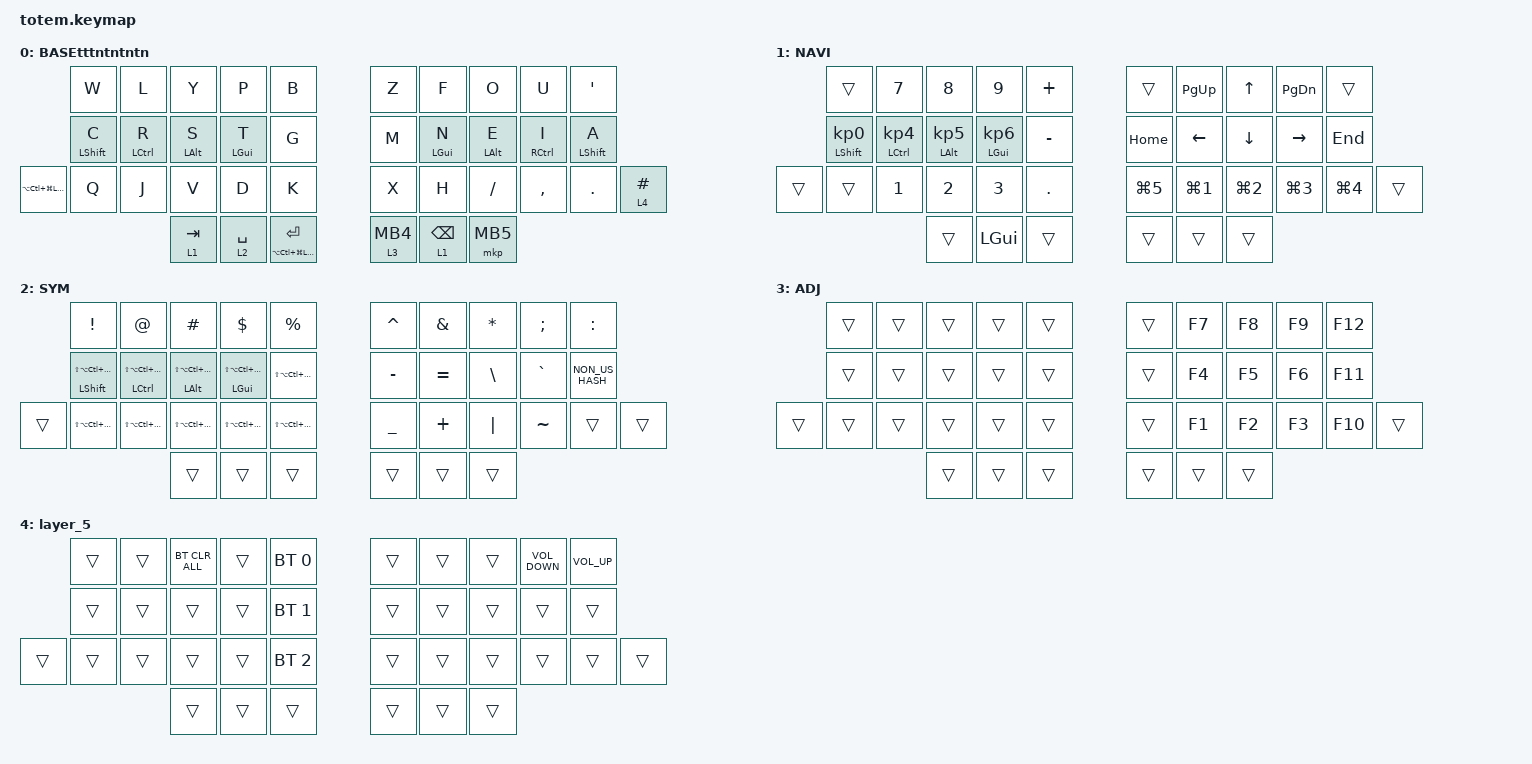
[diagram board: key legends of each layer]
//
//                                                        ▀▀▀▀▀     ▀▀▀▀▀          ▀▀█▀▀
//                                                        ▄▀▀▀▄  ▄  ▄▀▀▀▄  ▄  ▄▀▀▀▄  █  ▄▀▀▀▄
//                                                        █   █  █  █   █  █  █   █  █  █   █
//                                                         ▀▀▀   █   ▀▀▀   █   ▀▀▀   ▀   ▀▀▀
//                                                               █      ▄▄▄█▄▄▄    █   █  
//                                                               ▀      █  █  █     █▄█
//                                                             ▀▀▀▀▀    █  █  █      ▀
//                                                                      ▀  ▀  ▀
//
// ▄▄▄▄▄▄▄▄▄▄▄▄▄▄▄▄▄▄▄▄▄▄▄▄▄▄▄▄▄▄▄▄▄▄▄▄▄▄▄▄▄▄▄▄▄▄▄▄▄▄▄▄▄▄▄▄▄▄▄▄▄▄▄▄▄▄▄▄▄▄▄▄▄▄▄▄▄▄▄▄▄▄▄▄▄▄▄▄▄▄▄▄▄▄▄▄▄▄▄▄▄▄▄▄▄▄▄▄▄▄▄▄▄▄▄▄▄▄▄▄▄▄▄▄▄▄▄▄▄▄▄▄▄▄▄▄▄▄▄▄▄▄▄▄▄▄▄▄▄

#include <behaviors.dtsi>
#include <dt-bindings/zmk/bt.h>
#include <dt-bindings/zmk/keys.h>
#include <dt-bindings/zmk/pointing.h>

#define BASE 0
#define NAV  1
#define SYM  2
#define ADJ  3
#define TVP1 4
#define TVP2 5

&mt {
    quick-tap-ms = <100>;
    global-quick-tap;
    flavor = "tap-preferred";
    tapping-term-ms = <170>;
};

&lt { quick-tap-ms = <400>; };

/ {
    behaviors {
        td_copy_cut: td_copy_cut {
            compatible = "zmk,behavior-tap-dance";
            label = "TD_COPY_CUT";
            #binding-cells = <0>;
            bindings = <&copy_macro>, <&cut_macro>;

            tapping-term-ms = <300>;
        };

        hrm: hrm {
            compatible = "zmk,behavior-hold-tap";
            label = "HRM";
            #binding-cells = <2>;
            flavor = "balanced";
            tapping-term-ms = <400>;
            quick-tap-ms = <0>;
            global-quick-tap;
            bindings = <&kp>, <&kp>;
        };

        ht: ht {
            compatible = "zmk,behavior-hold-tap";
            label = "HT_LAYER_MOUSE";
            #binding-cells = <2>;
            flavor = "balanced";         // or "tap-preferred" / "hold-preferred"
            tapping-term-ms = <200>;     // tweak to your liking
            bindings = <&mo>, <&mkp>;

            // 1st: hold behavior, 2nd: tap behavior
        };
    };

    combos {
        compatible = "zmk,combos";

        Arrow {
            bindings = <&Arrow>;
            key-positions = <8 9>;
        };

        Paste {
            bindings = <&paste_macro>;
            key-positions = <24 23>;
        };

        CurlyL {
            bindings = <&kp LEFT_BRACE>;
            key-positions = <16 17>;
        };

        Enter {
            bindings = <&kp ENTER>;
            key-positions = <16 17 18>;
        };

        ParaL {
            bindings = <&kp LEFT_PARENTHESIS>;
            key-positions = <6 7>;
        };

        SquareL {
            bindings = <&kp LEFT_BRACKET>;
            key-positions = <27 28>;
        };

        SquareR {
            bindings = <&kp RIGHT_BRACKET>;
            key-positions = <29 28>;
        };

        ParaR {
            bindings = <&kp RIGHT_PARENTHESIS>;
            key-positions = <8 7>;
        };

        CurlyR {
            bindings = <&kp RIGHT_BRACE>;
            key-positions = <18 17>;
        };

        Tab {
            bindings = <&kp TAB>;
            key-positions = <11 12 13>;
        };

        Undo {
            timeout-ms = <50>;
            bindings = <&undo_macro>;
            key-positions = <2 3>;
        };

        Copy {
            bindings = <&td_copy_cut>;
            key-positions = <12 13>;
        };

        switch {
            bindings = <&kp LS(LA(LC(LG(F12))))>;
            key-positions = <4 5>;
        };

        switch2 {
            bindings = <&kp LS(LA(LC(LG(F11))))>;
            key-positions = <14 15>;
        };

        switch3 {
            bindings = <&kp LS(LC(LA(LG(F16))))>;
            key-positions = <25 26>;
        };

        Switch4 {
            bindings = <&kp LS(LA(LC(LG(F13))))>;
            key-positions = <3 6>;
        };

        Switch5 {
            bindings = <&kp LS(LA(LC(LG(F14))))>;
            key-positions = <16 13>;
        };

        Switch6 {
            bindings = <&kp LS(LA(LC(LG(F15))))>;
            key-positions = <24 27>;
        };

        Esc {
            bindings = <&kp ESC>;
            key-positions = <0 9>;
        };
    };

    macros {
        Arrow: Arrow {
            compatible = "zmk,behavior-macro";
            #binding-cells = <0>;
            bindings = <&kp EQUAL &kp GT>;
            label = "ARROW";
        };

        copy_macro: copy_macro {
            compatible = "zmk,behavior-macro";
            label = "COPY_MACRO";
            #binding-cells = <0>;
            bindings = <&kp LG(C)>;
        };

        cut_macro: cut_macro {
            compatible = "zmk,behavior-macro";
            label = "CUT_MACRO";
            #binding-cells = <0>;
            bindings = <&kp LG(X)>;
        };

        paste_macro: paste_macro {
            compatible = "zmk,behavior-macro";
            label = "PASTE_MACRO";
            #binding-cells = <0>;
            bindings = <&kp LG(V)>;
        };

        undo_macro: undo_macro {
            compatible = "zmk,behavior-macro";
            label = "UNDO_MACRO";
            #binding-cells = <0>;
            bindings = <&kp LG(Z)>;
        };
    };

    keymap {
        compatible = "zmk,keymap";

        // ▄▄▄▄▄▄▄▄▄▄▄▄▄▄▄▄▄▄▄▄▄▄▄▄▄▄▄▄▄▄▄▄▄▄▄▄▄▄▄▄▄▄▄▄▄▄▄▄▄▄▄▄▄▄▄▄▄▄▄▄▄▄▄▄▄▄▄▄▄▄▄▄▄▄▄▄▄▄▄▄▄▄▄▄▄▄▄▄▄▄▄▄▄▄▄▄▄▄▄▄▄▄▄▄▄▄▄▄▄▄▄▄▄▄▄▄▄▄▄▄▄▄▄▄▄▄▄▄▄▄▄▄▄▄▄▄▄▄▄▄▄▄▄▄▄▄▄▄▄

        layer_4 {
            label = "BASEtttntntntn";
            bindings = <
                            &kp W              &kp L         &kp Y            &kp P            &kp B                               &kp Z      &kp F            &kp O            &kp U                 &kp SQT
                            &hrm LEFT_SHIFT C  &hrm LCTRL R  &hrm LEFT_ALT S  &hrm LEFT_GUI T  &kp G                               &kp M      &hrm LEFT_GUI N  &hrm LEFT_ALT E  &hrm RIGHT_CONTROL I  &hrm LEFT_SHIFT A
&kp LA(LC(LG(LEFT_SHIFT)))  &kp Q              &kp J         &kp V            &kp D            &kp K                               &kp X      &kp H            &kp FSLH         &kp COMMA             &kp DOT            &lt 4 POUND
                                                             &lt 1 TAB        &lt 2 SPACE      &mt LA(LC(LG(LEFT_SHIFT))) ENTER    &ht 3 MB4  &lt 1 BACKSPACE  &mkp MB5
            >;
        };

        nav_layer {
            // ┏━━━━━━━━━━━━━━━━━━━━━━━━━━━━━━━━━━━━━━━┓

            label = "NAVI";

            // ┗━━━━━━━━━━━━━━━━━━━━━━━━━━━━━━━━━━━━━━━┛
            //             ┏━━━━━━━━━━━┳━━━━━━━━━━━┳━━━━━━━━━━━┳━━━━━━━━━━━┳━━━━━━━━━━━┓   ┏━━━━━━━━━━━┳━━━━━━━━━━━┳━━━━━━━━━━━┳━━━━━━━━━━━┳━━━━━━━━━━━┓
            //             ┃           ┃           ┃     UP    ┃           ┃     {     ┃   ┃     }     ┃     7     ┃     8     ┃     9     ┃     +     ┃
            //             ┣━━━━━━━━━━━╋━━━━━━━━━━━╋━━━━━━━━━━━╋━━━━━━━━━━━╋━━━━━━━━━━━┫   ┣━━━━━━━━━━━╋━━━━━━━━━━━╋━━━━━━━━━━━╋━━━━━━━━━━━╋━━━━━━━━━━━┫
            //             ┃   SHIFT   ┃   LEFT    ┃    DOWN   ┃   RIGHT   ┃     [     ┃   ┃     ]     ┃     4     ┃     5     ┃     6     ┃     -     ┃
            // ┏━━━━━━━━━━━╋━━━━━━━━━━━╋━━━━━━━━━━━╋━━━━━━━━━━━╋━━━━━━━━━━━╋━━━━━━━━━━━┫   ┣━━━━━━━━━━━╋━━━━━━━━━━━╋━━━━━━━━━━━╋━━━━━━━━━━━╋━━━━━━━━━━━╋━━━━━━━━━━━┓
            // ┃           ┃           ┃   P UP    ┃  C LOCK   ┃  P DOWN   ┃     (     ┃   ┃     )     ┃     1     ┃     2     ┃     3     ┃     *     ┃           ┃
            // ┗━━━━━━━━━━━┻━━━━━━━━━━━┻━━━━━━━━━━━╋━━━━━━━━━━━╋━━━━━━━━━━━╋━━━━━━━━━━━┫   ┣━━━━━━━━━━━╋━━━━━━━━━━━╋━━━━━━━━━━━╋━━━━━━━━━━━┻━━━━━━━━━━━┻━━━━━━━━━━━┛
            //                                     ┃           ┃    TAB    ┃    SPC    ┃   ┃    DEL    ┃     0     ┃           ┃
            //                                     ┗━━━━━━━━━━━┻━━━━━━━━━━━┻━━━━━━━━━━━┛   ┗━━━━━━━━━━━┻━━━━━━━━━━━┻━━━━━━━━━━━┛

            bindings = <
        &trans                      &kp N7                 &kp N8                    &kp N9                    &kp PLUS      &trans      &kp PAGE_UP       &kp UP            &kp PAGE_DOWN     &trans
        &mt LEFT_SHIFT KP_NUMBER_0  &mt LCTRL KP_NUMBER_4  &mt LEFT_ALT KP_NUMBER_5  &mt LEFT_GUI KP_NUMBER_6  &kp MINUS     &kp HOME    &kp LEFT_ARROW    &kp DOWN_ARROW    &kp RIGHT_ARROW   &kp END
&trans  &trans                      &kp N1                 &kp N2                    &kp N3                    &kp PERIOD    &kp LG(N5)  &kp LG(NUMBER_1)  &kp LG(NUMBER_2)  &kp LG(NUMBER_3)  &kp LG(NUMBER_4)  &trans
                                                           &trans                    &kp LEFT_GUI              &trans        &trans      &trans            &trans
            >;
        };

        sim_layer {
            // ┏━━━━━━━━━━━━━━━━━━━━━━━━━━━━━━━━━━━━━━━┓

            label = "SYM";

            // ┗━━━━━━━━━━━━━━━━━━━━━━━━━━━━━━━━━━━━━━━┛
            //             ┏━━━━━━━━━━━┳━━━━━━━━━━━┳━━━━━━━━━━━┳━━━━━━━━━━━┳━━━━━━━━━━━┓   ┏━━━━━━━━━━━┳━━━━━━━━━━━┳━━━━━━━━━━━┳━━━━━━━━━━━┳━━━━━━━━━━━┓
            //             ┃     !     ┃     @     ┃     #     ┃     $     ┃     %     ┃   ┃     ˆ     ┃     &     ┃     Ü     ┃     '     ┃     "     ┃
            //             ┣━━━━━━━━━━━╋━━━━━━━━━━━╋━━━━━━━━━━━╋━━━━━━━━━━━╋━━━━━━━━━━━┫   ┣━━━━━━━━━━━╋━━━━━━━━━━━╋━━━━━━━━━━━╋━━━━━━━━━━━╋━━━━━━━━━━━┫
            //             ┃     Ä     ┃           ┃    SZ     ┃           ┃           ┃   ┃   MUTE    ┃   YEN     ┃   EURO    ┃  POUND    ┃     Ö     ┃
            // ┏━━━━━━━━━━━╋━━━━━━━━━━━╋━━━━━━━━━━━╋━━━━━━━━━━━╋━━━━━━━━━━━╋━━━━━━━━━━━┫   ┣━━━━━━━━━━━╋━━━━━━━━━━━╋━━━━━━━━━━━╋━━━━━━━━━━━╋━━━━━━━━━━━╋━━━━━━━━━━━┓
            // ┃           ┃  EMAIL1   ┃  EMAIL2   ┃           ┃           ┃           ┃   ┃   VOL-    ┃   VOL+    ┃   LAST    ┃   NEXT    ┃     \     ┃           ┃
            // ┗━━━━━━━━━━━┻━━━━━━━━━━━┻━━━━━━━━━━━╋━━━━━━━━━━━╋━━━━━━━━━━━╋━━━━━━━━━━━┫   ┣━━━━━━━━━━━╋━━━━━━━━━━━╋━━━━━━━━━━━╋━━━━━━━━━━━┻━━━━━━━━━━━┻━━━━━━━━━━━┛
            //                                     ┃           ┃    GIF    ┃    ADJ    ┃   ┃           ┃           ┃           ┃
            //                                     ┗━━━━━━━━━━━┻━━━━━━━━━━━┻━━━━━━━━━━━┛   ┗━━━━━━━━━━━┻━━━━━━━━━━━┻━━━━━━━━━━━┛

            bindings = <
        &kp EXCL                           &kp AT                        &kp POUND                        &kp DLLR                         &kp PRCNT                 &kp CARET  &kp AMPS   &kp ASTERISK   &kp SEMI   &kp COLON
        &mt LEFT_SHIFT LS(LA(LC(LG(F4))))  &mt LCTRL LS(LA(LC(LG(F3))))  &mt LEFT_ALT LS(LA(LC(LG(F2))))  &mt LEFT_GUI LS(LA(LC(LG(F1))))  &kp LS(LA(LC(LG(F5))))    &kp MINUS  &kp EQUAL  &kp BACKSLASH  &kp GRAVE  &kp NON_US_HASH
&trans  &kp LS(LA(LC(LG(F10))))            &kp LS(LA(LC(LG(F9))))        &kp LS(LA(LC(LG(F8))))           &kp LS(LA(LC(LG(F7))))           &kp LS(LA(LC(LG(F6))))    &kp UNDER  &kp PLUS   &kp PIPE       &kp TILDE  &trans           &trans
                                                                         &trans                           &trans                           &trans                    &trans     &trans     &trans
            >;
        };

        adjust_layer {
            // ┏━━━━━━━━━━━━━━━━━━━━━━━━━━━━━━━━━━━━━━━┓

            label = "ADJ";

            // ┗━━━━━━━━━━━━━━━━━━━━━━━━━━━━━━━━━━━━━━━┛
            //             ┏━━━━━━━━━━━┳━━━━━━━━━━━┳━━━━━━━━━━━┳━━━━━━━━━━━┳━━━━━━━━━━━┓   ┏━━━━━━━━━━━┳━━━━━━━━━━━┳━━━━━━━━━━━┳━━━━━━━━━━━┳━━━━━━━━━━━┓
            //             ┃   RESET   ┃ BT CLEAR  ┃  OUT TOG  ┃           ┃           ┃   ┃           ┃    F7     ┃    F8     ┃    F9     ┃    F12    ┃
            //             ┣━━━━━━━━━━━╋━━━━━━━━━━━╋━━━━━━━━━━━╋━━━━━━━━━━━╋━━━━━━━━━━━┫   ┣━━━━━━━━━━━╋━━━━━━━━━━━╋━━━━━━━━━━━╋━━━━━━━━━━━╋━━━━━━━━━━━┫
            //             ┃ BOOTLOAD  ┃ BT NEXT   ┃           ┃           ┃           ┃   ┃           ┃    F4     ┃    F5     ┃    F6     ┃    F11    ┃
            // ┏━━━━━━━━━━━╋━━━━━━━━━━━╋━━━━━━━━━━━╋━━━━━━━━━━━╋━━━━━━━━━━━╋━━━━━━━━━━━┫   ┣━━━━━━━━━━━╋━━━━━━━━━━━╋━━━━━━━━━━━╋━━━━━━━━━━━╋━━━━━━━━━━━╋━━━━━━━━━━━┓
            // ┃           ┃           ┃ BT PREV   ┃           ┃           ┃           ┃   ┃           ┃    F1     ┃    F2     ┃    F3     ┃    F10    ┃           ┃
            // ┗━━━━━━━━━━━┻━━━━━━━━━━━┻━━━━━━━━━━━╋━━━━━━━━━━━╋━━━━━━━━━━━╋━━━━━━━━━━━┫   ┣━━━━━━━━━━━╋━━━━━━━━━━━╋━━━━━━━━━━━╋━━━━━━━━━━━┻━━━━━━━━━━━┻━━━━━━━━━━━┛
            //                                     ┃           ┃           ┃           ┃   ┃           ┃           ┃           ┃
            //                                     ┗━━━━━━━━━━━┻━━━━━━━━━━━┻━━━━━━━━━━━┛   ┗━━━━━━━━━━━┻━━━━━━━━━━━┻━━━━━━━━━━━┛

            bindings = <
        &trans  &trans  &trans  &trans  &trans    &trans  &kp F7  &kp F8  &kp F9  &kp F12
        &trans  &trans  &trans  &trans  &trans    &trans  &kp F4  &kp F5  &kp F6  &kp F11
&trans  &trans  &trans  &trans  &trans  &trans    &trans  &kp F1  &kp F2  &kp F3  &kp F10  &trans
                        &trans  &trans  &trans    &trans  &trans  &trans
            >;
        };

        layer_5 {
            bindings = <
        &trans  &trans  &bt BT_CLR_ALL  &trans  &bt BT_SEL 0    &trans  &trans  &trans  &kp C_VOLUME_DOWN  &kp C_VOLUME_UP
        &trans  &trans  &trans          &trans  &bt BT_SEL 1    &trans  &trans  &trans  &trans             &trans
&trans  &trans  &trans  &trans          &trans  &bt BT_SEL 2    &trans  &trans  &trans  &trans             &trans           &trans
                        &trans          &trans  &trans          &trans  &trans  &trans
            >;
        };

        // ▄▄▄▄▄▄▄▄▄▄▄▄▄▄▄▄▄▄▄▄▄▄▄▄▄▄▄▄▄▄▄▄▄▄▄▄▄▄▄▄▄▄▄▄▄▄▄▄▄▄▄▄▄▄▄▄▄▄▄▄▄▄▄▄▄▄▄▄▄▄▄▄▄▄▄▄▄▄▄▄▄▄▄▄▄▄▄▄▄▄▄▄▄▄▄▄▄▄▄▄▄▄▄▄▄▄▄▄▄▄▄▄▄▄▄▄▄▄▄▄▄▄▄▄▄▄▄▄▄▄▄▄▄▄▄▄▄▄▄▄▄▄▄▄▄▄▄▄▄
        // ▄▄▄▄▄▄▄▄▄▄▄▄▄▄▄▄▄▄▄▄▄▄▄▄▄▄▄▄▄▄▄▄▄▄▄▄▄▄▄▄▄▄▄▄▄▄▄▄▄▄▄▄▄▄▄▄▄▄▄▄▄▄▄▄▄▄▄▄▄▄▄▄▄▄▄▄▄▄▄▄▄▄▄▄▄▄▄▄▄▄▄▄▄▄▄▄▄▄▄▄▄▄▄▄▄▄▄▄▄▄▄▄▄▄▄▄▄▄▄▄▄▄▄▄▄▄▄▄▄▄▄▄▄▄▄▄▄▄▄▄▄▄▄▄▄▄▄▄▄
    };
};
